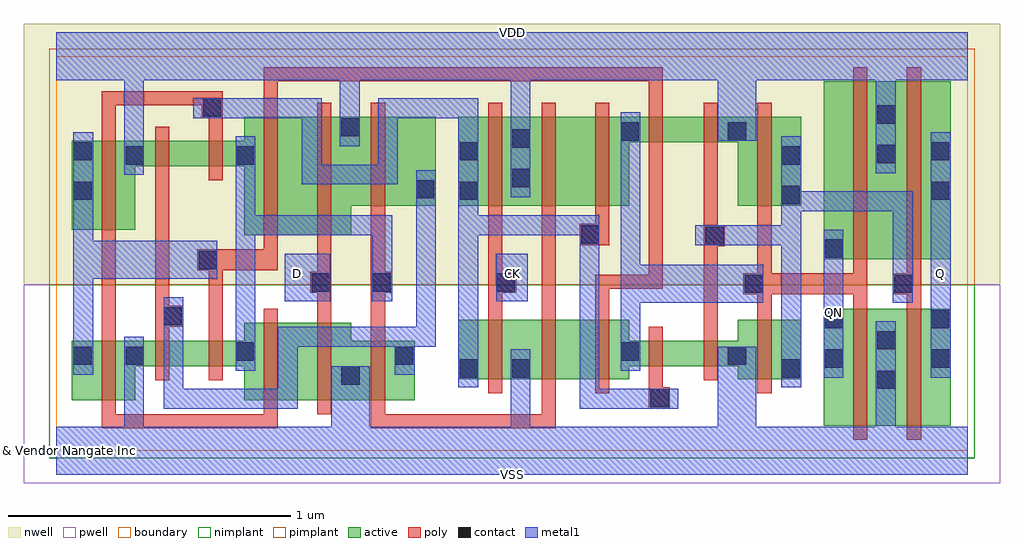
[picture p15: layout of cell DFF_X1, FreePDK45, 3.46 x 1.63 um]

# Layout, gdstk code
import gdstk
lib = gdstk.Library(unit=1e-6, precision=1e-09)
def R(c, l, rs):  # rectangles x0, y0, x1, y1
    for r in rs: c.add(gdstk.rectangle(r[:2], r[2:], *l))
def P(c, l, *ps):  # polygons
    for p in ps: c.add(gdstk.Polygon(p, *l))
active = (1, 0)
pwell = (2, 0)
nwell = (3, 0)
nimplant = (4, 0)
pimplant = (5, 0)
poly = (9, 0)
contact = (10, 0)
metal1 = (11, 0)
boundary = (235, 0)

dff_x1 = lib.new_cell('DFF_X1')
R(dff_x1, active, [(2.72,0.09,3.17,0.505), (2.72,0.68,3.17,1.31)])
P(dff_x1, active, [(0.055,0.18),(0.28,0.18),(0.28,0.3),(0.665,0.3),(0.665,0.18),(1.27,0.18),(1.27,0.39),(1.045,0.39),(1.045,0.455),(0.665,0.455),(0.665,0.39),(0.055,0.39)],
  [(0.055,0.785),(0.28,0.785),(0.28,1.01),(0.665,1.01),(0.665,0.765),(1.045,0.765),(1.045,0.87),(1.345,0.87),(1.345,1.185),(0.665,1.185),(0.665,1.1),(0.055,1.1)],
  [(1.425,0.255),(2.03,0.255),(2.03,0.3),(2.415,0.3),(2.415,0.255),(2.64,0.255),(2.64,0.465),(2.415,0.465),(2.415,0.39),(2.03,0.39),(2.03,0.465),(1.425,0.465)],
  [(1.425,0.87),(2.03,0.87),(2.03,1.095),(2.415,1.095),(2.415,0.87),(2.64,0.87),(2.64,1.185),(1.425,1.185)])
R(dff_x1, pwell, [(-0.115,-0.115,3.345,0.59)])
R(dff_x1, nwell, [(-0.115,0.59,3.345,1.515)])
R(dff_x1, nimplant, [(-0.025,-0.025,3.255,0.59)])
R(dff_x1, pimplant, [(-0.025,0.59,3.255,1.425)])
P(dff_x1, poly, [(0.35,0.25),(0.4,0.25),(0.4,0.44),(0.45,0.44),(0.45,0.515),(0.4,0.515),(0.4,1.15),(0.35,1.15)],
  [(0.16,0.08),(0.785,0.08),(0.785,0.505),(0.735,0.505),(0.735,0.13),(0.21,0.13),(0.21,1.225),(0.515,1.225),(0.515,1.18),(0.54,1.18),(0.54,0.96),(0.59,0.96),(0.59,1.275),(0.16,1.275)],
  [(0.9,0.56),(0.925,0.56),(0.925,0.13),(0.975,0.13),(0.975,1.235),(0.925,1.235),(0.925,0.635),(0.9,0.635)],
  [(1.53,0.205),(1.58,0.205),(1.58,0.56),(1.63,0.56),(1.63,0.635),(1.58,0.635),(1.58,1.235),(1.53,1.235)],
  [(1.115,0.08),(1.77,0.08),(1.77,1.235),(1.72,1.235),(1.72,0.13),(1.165,0.13),(1.165,0.56),(1.19,0.56),(1.19,0.635),(1.165,0.635),(1.165,1.235),(1.115,1.235)],
  [(1.855,0.73),(1.96,0.73),(1.96,1.235),(1.91,1.235),(1.91,0.805),(1.855,0.805)],
  [(0.5,0.64),(0.54,0.64),(0.54,0.25),(0.59,0.25),(0.59,0.64),(0.785,0.64),(0.785,1.31),(2.1,1.31),(2.1,0.625),(1.91,0.625),(1.91,0.205),(1.96,0.205),(1.96,0.575),(2.15,0.575),(2.15,1.36),(0.735,1.36),(0.735,0.715),(0.5,0.715)],
  [(2.1,0.15),(2.175,0.15),(2.175,0.225),(2.15,0.225),(2.15,0.44),(2.1,0.44)],
  [(2.295,0.25),(2.345,0.25),(2.345,0.725),(2.37,0.725),(2.37,0.8),(2.345,0.8),(2.345,1.235),(2.295,1.235)],
  [(2.435,0.555),(2.485,0.555),(2.485,0.205),(2.535,0.205),(2.535,0.555),(2.825,0.555),(2.825,0.04),(2.875,0.04),(2.875,1.36),(2.825,1.36),(2.825,0.63),(2.535,0.63),(2.535,1.235),(2.485,1.235),(2.485,0.63),(2.435,0.63)],
  [(2.965,0.555),(3.015,0.555),(3.015,0.04),(3.065,0.04),(3.065,1.36),(3.015,1.36),(3.015,0.63),(2.965,0.63)])
R(dff_x1, contact, [(2.105,0.155,2.17,0.22), (2.91,0.22,2.975,0.285), (1.01,0.235,1.075,0.3), (1.43,0.26,1.495,0.325), (1.615,0.26,1.68,0.325), (2.57,0.26,2.635,0.325), (2.725,0.295,2.79,0.36), (3.1,0.295,3.165,0.36), (0.06,0.305,0.125,0.37), (0.245,0.305,0.31,0.37), (1.2,0.305,1.265,0.37), (2.38,0.305,2.445,0.37), (0.635,0.32,0.7,0.385), (2,0.32,2.065,0.385), (2.91,0.36,2.975,0.425), (2.725,0.435,2.79,0.5), (3.1,0.435,3.165,0.5), (0.38,0.445,0.445,0.51), (2.44,0.56,2.505,0.625), (2.97,0.56,3.035,0.625), (0.905,0.565,0.97,0.63), (1.12,0.565,1.185,0.63), (1.56,0.565,1.625,0.63), (0.505,0.645,0.57,0.71), (2.725,0.685,2.79,0.75), (2.3,0.73,2.365,0.795), (1.86,0.735,1.925,0.8), (2.57,0.875,2.635,0.94), (0.06,0.89,0.125,0.955), (1.43,0.89,1.495,0.955), (3.1,0.89,3.165,0.955), (1.275,0.895,1.34,0.96), (1.615,0.935,1.68,1), (0.245,1.015,0.31,1.08), (0.635,1.015,0.7,1.08), (2.57,1.015,2.635,1.08), (2.91,1.02,2.975,1.085), (0.06,1.03,0.125,1.095), (1.43,1.03,1.495,1.095), (3.1,1.03,3.165,1.095), (1.615,1.075,1.68,1.14), (2,1.1,2.065,1.165), (2.38,1.1,2.445,1.165), (1.01,1.115,1.075,1.18), (2.91,1.16,2.975,1.225), (0.52,1.185,0.585,1.25)])
R(dff_x1, metal1, [(2.72,0.26,2.79,0.785), (3.1,0.26,3.17,1.13), (0.81,0.53,0.97,0.7), (1.56,0.53,1.67,0.7)])
P(dff_x1, metal1, [(0.06,0.27),(0.13,0.27),(0.13,0.61),(0.57,0.61),(0.57,0.745),(0.13,0.745),(0.13,1.13),(0.06,1.13)],
  [(0.635,0.285),(0.705,0.285),(0.705,0.765),(1.12,0.765),(1.12,0.53),(1.19,0.53),(1.19,0.835),(0.705,0.835),(0.705,1.115),(0.635,1.115)],
  [(0.38,0.15),(0.855,0.15),(0.855,0.37),(1.2,0.37),(1.2,0.27),(1.27,0.27),(1.27,0.37),(1.345,0.37),(1.345,0.995),(1.275,0.995),(1.275,0.44),(0.785,0.44),(0.785,0.22),(0.45,0.22),(0.45,0.545),(0.38,0.545)],
  [(0.485,1.18),(0.87,1.18),(0.87,0.945),(1.21,0.945),(1.21,1.18),(1.425,1.18),(1.425,0.225),(1.495,0.225),(1.495,0.765),(1.855,0.765),(1.855,0.15),(2.205,0.15),(2.205,0.22),(1.925,0.22),(1.925,0.835),(1.495,0.835),(1.495,1.25),(1.14,1.25),(1.14,1.015),(0.94,1.015),(0.94,1.25),(0.485,1.25)],
  [(2,0.285),(2.07,0.285),(2.07,0.525),(2.505,0.525),(2.505,0.66),(2.07,0.66),(2.07,1.2),(2,1.2)],
  [(2.265,0.73),(2.57,0.73),(2.57,0.225),(2.64,0.225),(2.64,0.85),(2.965,0.85),(2.965,0.525),(3.035,0.525),(3.035,0.92),(2.64,0.92),(2.64,1.115),(2.57,1.115),(2.57,0.8),(2.265,0.8)],
  [(0,-0.085),(3.23,-0.085),(3.23,0.085),(2.975,0.085),(2.975,0.46),(2.905,0.46),(2.905,0.085),(2.48,0.085),(2.48,0.37),(2.345,0.37),(2.345,0.085),(1.68,0.085),(1.68,0.36),(1.61,0.36),(1.61,0.085),(1.11,0.085),(1.11,0.3),(0.975,0.3),(0.975,0.085),(0.31,0.085),(0.31,0.405),(0.24,0.405),(0.24,0.085),(0,0.085)],
  [(0,1.315),(0.24,1.315),(0.24,0.98),(0.31,0.98),(0.31,1.315),(1.005,1.315),(1.005,1.08),(1.075,1.08),(1.075,1.315),(1.61,1.315),(1.61,0.9),(1.68,0.9),(1.68,1.315),(2.345,1.315),(2.345,1.1),(2.48,1.1),(2.48,1.315),(2.905,1.315),(2.905,0.985),(2.975,0.985),(2.975,1.315),(3.23,1.315),(3.23,1.485),(0,1.485)])
R(dff_x1, boundary, [(0,0,3.23,1.4)])
dff_x1.add(gdstk.Label('CK', (1.615,0.63), layer=11, texttype=0))
dff_x1.add(gdstk.Label('D', (0.855,0.63), layer=11, texttype=0))
dff_x1.add(gdstk.Label('Q', (3.135,0.63), layer=11, texttype=0))
dff_x1.add(gdstk.Label('QN', (2.755,0.49), layer=11, texttype=0))
dff_x1.add(gdstk.Label('VDD', (1.615,1.485), layer=11, texttype=0))
dff_x1.add(gdstk.Label('VSS', (1.615,-0.085), layer=11, texttype=0))
dff_x1.add(gdstk.Label('& Vendor Nangate Inc', (0,0), layer=63, texttype=63))
dff_x1.add(gdstk.Label('& Product Open Cell Library', (0,0), layer=63, texttype=63))
dff_x1.add(gdstk.Label('& Version 2010_12', (0,0), layer=63, texttype=63))
dff_x1.add(gdstk.Label('& Instance DFF_X1', (0,0), layer=63, texttype=63))

lib.write_gds('DFF_X1.gds')
